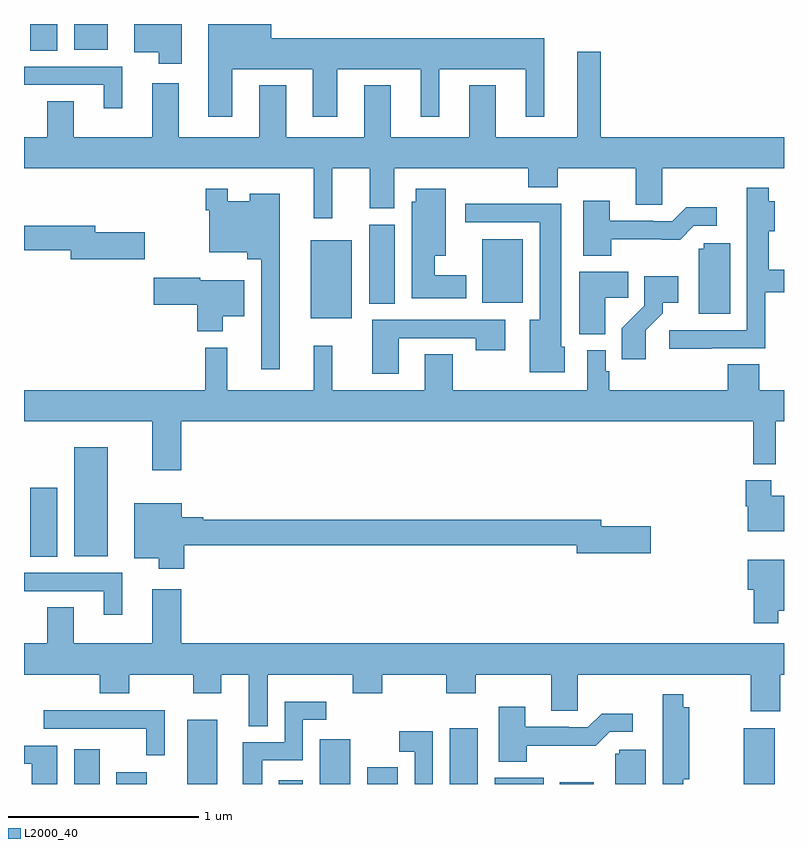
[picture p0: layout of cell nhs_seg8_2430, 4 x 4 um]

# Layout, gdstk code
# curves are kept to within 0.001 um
import gdstk
lib = gdstk.Library(unit=1e-6, precision=1e-09)
def R(c, l, rs):  # rectangles x0, y0, x1, y1
    for r in rs: c.add(gdstk.rectangle(r[:2], r[2:], *l))
def P(c, l, *ps):  # polygons
    for p in ps: c.add(gdstk.Polygon(p, *l))
L2000_40 = (2000, 40)

nhs_seg8_2430 = lib.new_cell('nhs_seg8_2430')
R(nhs_seg8_2430, L2000_40, [(263.264,1139.9,263.398,1140.082), (263.486,1139.9,263.647,1139.962), (263.858,1139.9,264.016,1140.238), (264.341,1139.9,264.468,1139.92), (264.557,1139.9,264.718,1140.136), (264.806,1139.9,264.967,1139.988), (265.241,1139.9,265.387,1140.193), (265.478,1139.9,265.736,1139.932), (265.821,1139.9,265.999,1139.908), (266.788,1139.9,266.95,1140.193), (263.033,1141.096,263.176,1141.459), (263.264,1141.1,263.44,1141.672), (264.509,1142.351,264.724,1142.761), (264.818,1142.428,264.952,1142.844), (265.412,1142.432,265.624,1142.767), (263.033,1143.76,263.176,1143.9), (263.264,1143.764,263.44,1143.9)])
P(nhs_seg8_2430, L2000_40, [(264.097,1143.662),(264.521,1143.662),(264.521,1143.411),(264.649,1143.411),(264.649,1143.662),(265.088,1143.662),(265.088,1143.411),(265.186,1143.411),(265.186,1143.662),(265.64,1143.662),(265.64,1143.411),(265.738,1143.411),(265.738,1143.826),(264.301,1143.826),(264.301,1143.9),(263.969,1143.9),(263.969,1143.411),(264.097,1143.411)],
  [(263.83,1143.9),(263.579,1143.9),(263.579,1143.752),(263.708,1143.752),(263.708,1143.69),(263.83,1143.69)],
  [(264.623,1143.14),(264.821,1143.14),(264.821,1142.929),(264.949,1142.929),(264.949,1143.14),(265.654,1143.14),(265.654,1143.041),(265.809,1143.041),(265.809,1143.14),(266.219,1143.14),(266.219,1142.95),(266.358,1142.95),(266.358,1143.14),(267,1143.14),(267,1143.304),(266.035,1143.304),(266.035,1143.754),(265.913,1143.754),(265.913,1143.304),(265.483,1143.304),(265.483,1143.577),(265.343,1143.577),(265.343,1143.304),(264.931,1143.304),(264.931,1143.577),(264.791,1143.577),(264.791,1143.304),(264.379,1143.304),(264.379,1143.577),(264.239,1143.577),(264.239,1143.304),(263.815,1143.304),(263.815,1143.589),(263.675,1143.589),(263.675,1143.304),(263.263,1143.304),(263.263,1143.494),(263.123,1143.494),(263.123,1143.304),(263,1143.304),(263,1143.14),(264.524,1143.14),(264.524,1142.877),(264.623,1142.877)],
  [(263.518,1143.675),(263,1143.675),(263,1143.579),(263.42,1143.579),(263.42,1143.456),(263.518,1143.456)],
  [(266.621,1142.193),(266.901,1142.193),(266.901,1142.488),(267,1142.488),(267,1142.606),(266.921,1142.606),(266.921,1142.81),(266.951,1142.81),(266.951,1142.968),(266.921,1142.968),(266.921,1143.037),(266.804,1143.037),(266.804,1142.814),(266.805,1142.814),(266.805,1142.289),(266.397,1142.289),(266.397,1142.191),(266.621,1142.191)],
  [(265.327,1142.578),(265.162,1142.578),(265.162,1142.681),(265.219,1142.681),(265.219,1143.034),(265.061,1143.034),(265.061,1142.964),(265.04,1142.964),(265.04,1142.456),(265.327,1142.456)],
  [(264.346,1143.007),(264.188,1143.007),(264.188,1142.968),(264.072,1142.968),(264.072,1143.034),(263.956,1143.034),(263.956,1142.921),(263.976,1142.921),(263.976,1142.699),(264.176,1142.699),(264.176,1142.663),(264.249,1142.663),(264.249,1142.082),(264.346,1142.082)],
  [(266.091,1142.766),(266.453,1142.765),(266.526,1142.838),(266.647,1142.838),(266.647,1142.935),(266.485,1142.935),(266.412,1142.862),(266.312,1142.862),(266.312,1142.865),(266.083,1142.865),(266.083,1142.971),(265.943,1142.971),(265.943,1142.681),(266.091,1142.681)],
  [(265.846,1142.202),(265.828,1142.202),(265.828,1142.954),(265.323,1142.954),(265.323,1142.856),(265.715,1142.856),(265.715,1142.344),(265.661,1142.344),(265.661,1142.066),(265.846,1142.066)],
  [(263.635,1142.805),(263.374,1142.805),(263.374,1142.839),(263,1142.839),(263,1142.71),(263.246,1142.71),(263.246,1142.663),(263.635,1142.663)],
  [(266.716,1142.745),(266.577,1142.745),(266.577,1142.718),(266.552,1142.718),(266.552,1142.374),(266.716,1142.374)],
  [(266.059,1142.458),(266.18,1142.458),(266.18,1142.596),(265.922,1142.596),(265.922,1142.267),(266.059,1142.267)],
  [(266.272,1142.287),(266.362,1142.377),(266.362,1142.432),(266.443,1142.432),(266.443,1142.572),(266.265,1142.572),(266.265,1142.417),(266.146,1142.298),(266.146,1142.136),(266.272,1142.136)],
  [(264.046,1142.363),(264.16,1142.363),(264.16,1142.551),(263.928,1142.551),(263.928,1142.564),(263.682,1142.564),(263.682,1142.422),(263.912,1142.422),(263.912,1142.282),(264.046,1142.282)],
  [(264.973,1142.247),(265.378,1142.247),(265.378,1142.184),(265.534,1142.184),(265.534,1142.343),(264.833,1142.343),(264.833,1142.058),(264.973,1142.058)],
  [(263,1141.808),(263.675,1141.808),(263.675,1141.551),(263.828,1141.551),(263.828,1141.808),(266.839,1141.808),(266.839,1141.583),(266.957,1141.583),(266.957,1141.808),(267,1141.808),(267,1141.972),(266.87,1141.972),(266.87,1142.108),(266.705,1142.108),(266.705,1141.972),(266.081,1141.972),(266.081,1142.073),(266.061,1142.073),(266.061,1142.182),(265.965,1142.182),(265.965,1141.972),(265.257,1141.972),(265.257,1142.162),(265.109,1142.162),(265.109,1141.972),(264.623,1141.972),(264.623,1142.206),(264.524,1142.206),(264.524,1141.972),(264.071,1141.972),(264.071,1142.197),(263.953,1142.197),(263.953,1141.972),(263,1141.972)],
  [(267,1141.417),(266.932,1141.417),(266.932,1141.498),(266.798,1141.498),(266.798,1141.362),(266.81,1141.362),(266.81,1141.229),(267,1141.229)],
  [(263.843,1141.156),(265.91,1141.156),(265.91,1141.114),(266.299,1141.114),(266.299,1141.256),(266.038,1141.256),(266.038,1141.292),(263.944,1141.292),(263.944,1141.303),(263.83,1141.303),(263.83,1141.378),(263.579,1141.378),(263.579,1141.088),(263.708,1141.088),(263.708,1141.034),(263.843,1141.034)],
  [(266.971,1140.812),(267,1140.812),(267,1141.081),(266.808,1141.081),(266.808,1140.923),(266.842,1140.923),(266.842,1140.747),(266.971,1140.747)],
  [(263.518,1141.011),(263,1141.011),(263,1140.915),(263.42,1140.915),(263.42,1140.792),(263.518,1140.792)],
  [(264.283,1140.476),(264.73,1140.476),(264.73,1140.377),(264.885,1140.377),(264.885,1140.476),(265.222,1140.476),(265.222,1140.377),(265.377,1140.377),(265.377,1140.476),(265.775,1140.476),(265.775,1140.286),(265.914,1140.286),(265.914,1140.476),(266.824,1140.476),(266.824,1140.282),(266.979,1140.282),(266.979,1140.476),(267,1140.476),(267,1140.64),(263.828,1140.64),(263.828,1140.925),(263.675,1140.925),(263.675,1140.64),(263.263,1140.64),(263.263,1140.83),(263.123,1140.83),(263.123,1140.64),(263,1140.64),(263,1140.476),(263.398,1140.476),(263.398,1140.377),(263.553,1140.377),(263.553,1140.476),(263.89,1140.476),(263.89,1140.377),(264.037,1140.377),(264.037,1140.476),(264.182,1140.476),(264.182,1140.205),(264.283,1140.205)],
  [(266.47,1139.924),(266.502,1139.924),(266.502,1140.304),(266.47,1140.304),(266.47,1140.373),(266.361,1140.373),(266.361,1139.9),(266.47,1139.9)],
  [(264.253,1140.024),(264.468,1140.024),(264.468,1140.237),(264.592,1140.237),(264.592,1140.334),(264.372,1140.334),(264.372,1140.12),(264.152,1140.12),(264.152,1139.9),(264.253,1139.9)],
  [(265.647,1140.102),(266.009,1140.101),(266.082,1140.174),(266.203,1140.174),(266.203,1140.271),(266.041,1140.271),(265.968,1140.198),(265.868,1140.198),(265.868,1140.201),(265.639,1140.201),(265.639,1140.307),(265.499,1140.307),(265.499,1140.017),(265.647,1140.017)],
  [(263.742,1140.288),(263.103,1140.288),(263.103,1140.192),(263.644,1140.192),(263.644,1140.051),(263.742,1140.051)],
  [(265.152,1140.178),(264.975,1140.178),(264.975,1140.069),(265.056,1140.069),(265.056,1139.9),(265.152,1139.9)],
  [(263.176,1140.102),(263,1140.102),(263,1140.006),(263.042,1140.006),(263.042,1139.9),(263.176,1139.9)],
  [(266.272,1140.081),(266.133,1140.081),(266.133,1140.06),(266.111,1140.06),(266.111,1139.9),(266.272,1139.9)])

lib.write_gds('nhs_seg8_2430.gds')
